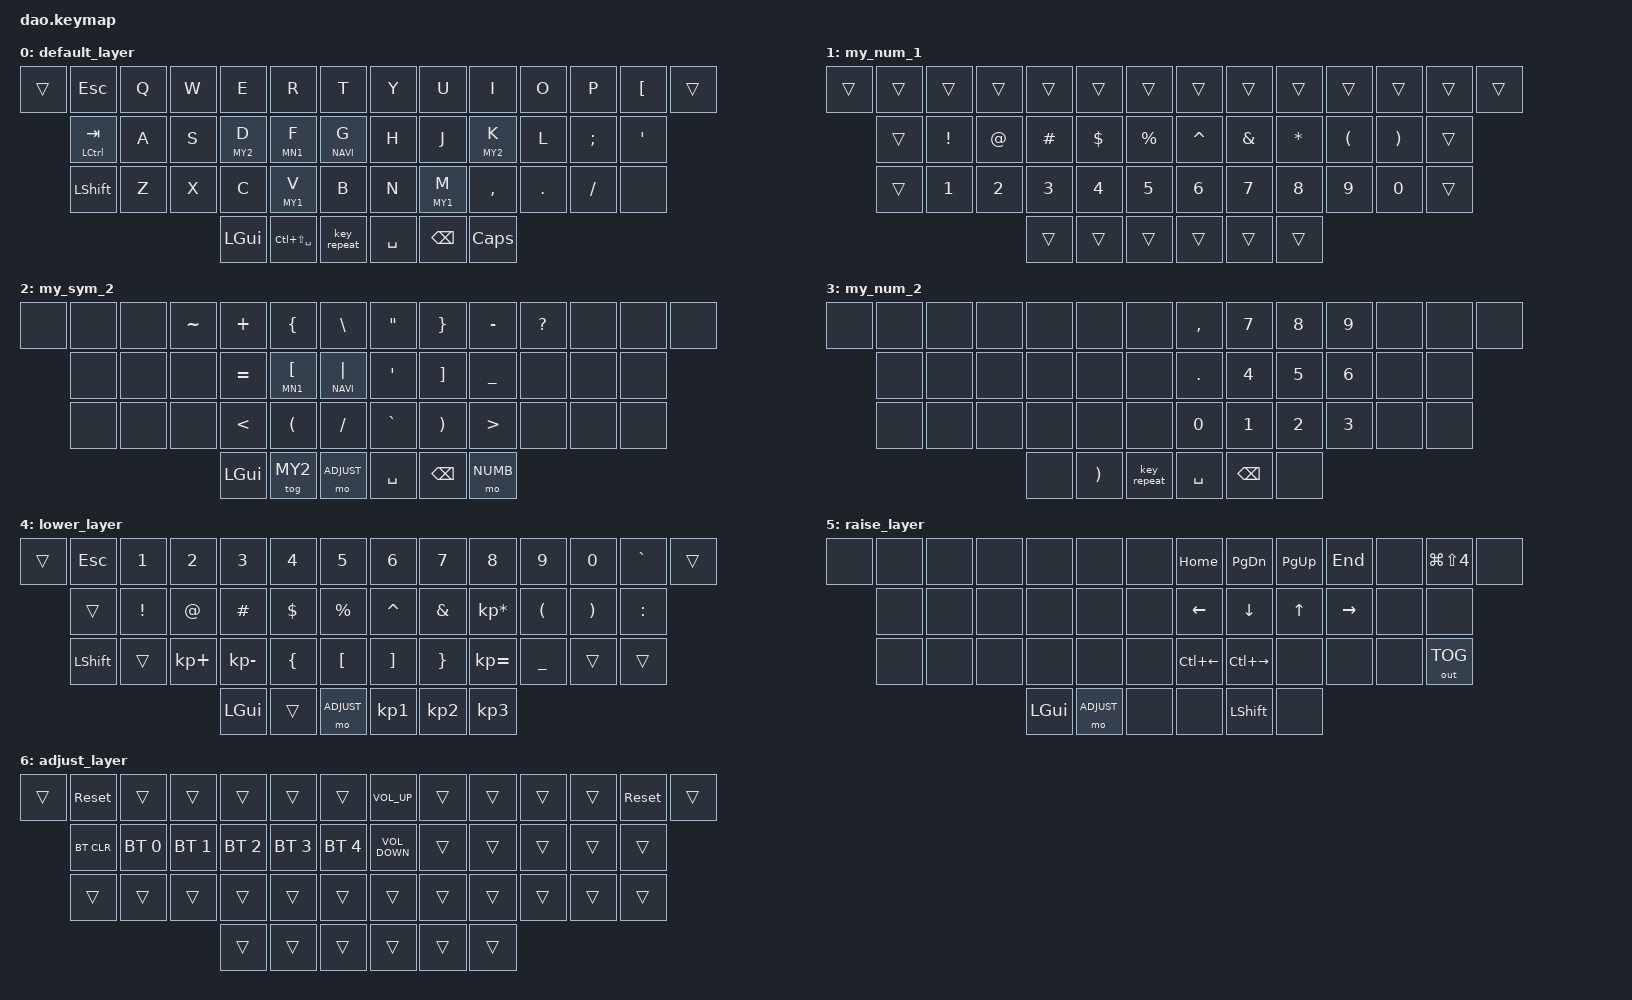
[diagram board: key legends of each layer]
/*
 * Copyright (c) 2020 The ZMK Contributors
 *
 * SPDX-License-Identifier: MIT
 * To use home rows - &hm LSHFT F
 */

#include <behaviors.dtsi>
#include <dt-bindings/zmk/keys.h>
#include <dt-bindings/zmk/bt.h>
#include <dt-bindings/zmk/outputs.h>

#define QWERTY 0
#define MY1 1
#define MY2 2
#define MN1 3
#define NUMB 4
#define NAVI 5
#define ADJUST 6

/ {

    behaviors {        
        hm: homerow_mods {
        compatible = "zmk,behavior-hold-tap";
        label = "HOMEROW_MODS";
        #binding-cells = <2>;
        tapping-term-ms = <150>;
        quick_tap_ms = <0>;
        flavor = "tap-preferred";
        bindings = <&kp>, <&kp>;
        };
    };
    
    combos {
      compatible = "zmk,combos";
      combo_esc {
        timeout-ms = <50>;
        key-positions = <3 4>;
        bindings = <&kp ESC>;
      };
      combo_bsp {
        timeout-ms = <50>;
        key-positions = <8 9>;
        bindings = <&kp BSPC>;
      };          
      combo_del {
        timeout-ms = <50>;
        key-positions = <9 10>;
        bindings = <&kp DEL>;
      };      
      combo_tab {
        timeout-ms = <50>;
        key-positions = <28 29>;
        bindings = <&kp TAB>;
      };
      combo_ret {
        timeout-ms = <50>;
        key-positions = <33 34>;
        bindings = <&kp RET>;
      };   
      
      combo_lgui_l {
        timeout-ms = <50>;
        key-positions = <18 19>;
        bindings = <&sk LGUI>;
      };
      combo_lshft_l {
        timeout-ms = <50>;
        key-positions = <16 17>;
        bindings = <&sk LSHFT>;
      };    
      combo_lctrl_l {
        timeout-ms = <50>;
        key-positions = <17 18>;
        bindings = <&sk LCTRL>;
      };       
      combo_lalt_l {
        timeout-ms = <50>;
        key-positions = <16 18>;
        bindings = <&sk LALT>;
      };             

      combo_lgui_r {
        timeout-ms = <50>;
        key-positions = <20 21>;
        bindings = <&sk LGUI>;
      };
      combo_lshft_r {
        timeout-ms = <50>;
        key-positions = <22 23>;
        bindings = <&sk LSHFT>;
      };    
      combo_lctrl_r {
        timeout-ms = <50>;
        key-positions = <21 22>;
        bindings = <&sk LCTRL>;
      };       
      combo_lalt_r {
        timeout-ms = <50>;
        key-positions = <21 23>;
        bindings = <&sk LALT>;
      };   
      
      combo_number {
        timeout-ms = <50>;
        key-positions = <30 33>;
        bindings = <&tog MY1>;
      };          
      
      combo_rus_symb_brct {
        timeout-ms = <50>;
        key-positions = <31 33>;
        bindings = <&kp RBKT>;
      };          
};    

        keymap {
                compatible = "zmk,keymap";

                default_layer {
// .--------------------------------------------------------------.       .-------------------------------------------------------------.
// |   ESC        |    Q    |    W   |   E    |    R    |    T    |       |   Y     |    U    |    I    |    O    |     P    |    [     |
// |--------------+---------+--------+--------+---------+---------|       |---------+---------+---------+---------+----------+----------|
// |   CTRL/Tab   |    A    |    S   | D|MY2  |  F|MN1  | G|NAVI  |       |   H     |    J    | K|MY2   |    L    |     ;    |     '    |
// |--------------+---------+--------+--------+---------+---------|       |---------+---------+---------+---------+----------+----------|
// |   SHFT       |    Z    |    X   |   C    |  V|MY1  |    B    |       |   N     |  M|MY1  |    ,    |    .    |     /    |          |
// '---------------------------------+--------+---------+---------+       |---------+---------+---------+-------------------------------'
//                                   |  GUI   | ru/en   | repeat  |       |  SPC    |   BKSP  |  CAPS   |
//                                   '--------+---------+---------'       '---------+---------+---------'
                        bindings = <
   &trans &kp ESC        &kp Q  &kp W  &kp E      &kp R              &kp T          &kp Y      &kp U      &kp I         &kp O    &kp P     &kp LBKT  &trans
          &mt LCTRL TAB  &kp A  &kp S  &lt MY2 D  &lt MN1 F          &lt NAVI G     &kp H      &kp J      &lt MY2 K     &kp L    &kp SEMI  &kp SQT
          &kp LSHFT      &kp Z  &kp X  &kp C      &lt MY1 V          &kp B          &kp N      &lt MY1 M  &kp COMMA     &kp DOT  &kp FSLH  &none
                                       &kp LGUI   &kp LC(LS(SPACE))  &key_repeat    &kp SPACE  &kp BSPC   &kp CAPSLOCK  
                        >;
                };
                
                my_num_1 {
// .--------------------------------------------------------------.       .-----------------------------------------------------------.
// |              |         |        |        |         |         |       |       |         |         |         |          |          |
// |--------------+---------+--------+--------+---------+---------|       |-------+---------+---------+---------+----------+----------|
// |              |    !    |    @   |   #    |    $    |    %    |       |   ^   |    &    |    *    |    (    |     )    |          |
// |--------------+---------+--------+--------+---------+---------|       |-------+---------+---------+---------+----------+----------|
// |              |    1    |    2   |   3    |    4    |    5    |       |   6   |    7    |    8    |    9    |     0    |          |
// '---------------------------------+--------+---------+---------+       |-------+---------+---------+-------------------------------'
//                                   |        |         |         |       |       |         |         |
//                                   '--------+---------+---------'       '-------+---------+---------'
                        bindings = <
    &trans  &trans  &trans    &trans  &trans    &trans    &trans           &trans     &trans    &trans    &trans    &trans    &trans  &trans
            &trans  &kp EXCL  &kp AT  &kp HASH  &kp DLLR  &kp PRCNT        &kp CARET  &kp AMPS  &kp STAR  &kp LPAR  &kp RPAR  &trans
            &trans  &kp N1    &kp N2  &kp N3    &kp N4    &kp N5           &kp N6     &kp N7    &kp N8    &kp N9    &kp N0    &trans
                                      &trans    &trans    &trans           &trans     &trans    &trans
                        >;
                
                };
                
                my_sym_2 {
// .----------------------------------------------------------.       .-----------------------------------------------------------.
// |         |         |   ~    |    +    |    {    |    \    |       |    "    |    }    |    -    |    ?    |         |         |
// |---------+---------+--------+---------+---------+---------|       |---------+---------+---------+---------+---------+---------|
// |         |         |        |    =    |  ( MN1  | | NAVI  |       |    '    |    )    |    _    |         |         |         |
// |---------+---------+--------+---------+---------+---------|       |---------+---------+---------+---------+---------+---------|
// |         |         |        |    <    |    [    |    /    |       |    `    |    ]    |    >    |         |         |         |
// '----------------------------+---------+---------+---------+       |---------+---------+---------+-----------------------------'
//                              |   GUI   |   MY2   |   MO3   |       |   SPC   |  BSPC   |         |
//                              '---------+---------+---------'       '---------+---------+---------'
                        bindings = <
   &none  &none  &none  &kp TILDE  &kp PLUS   &kp LBRC      &kp BSLH         &kp DQT    &kp RBRC  &kp MINUS  &kp QMARK  &none  &none  &none
          &none  &none  &none      &kp EQUAL  &lt MN1 LBKT  &lt NAVI PIPE    &kp SQT    &kp RBKT  &kp UNDER  &none      &none  &none
          &none  &none  &none      &kp LT     &kp LPAR      &kp FSLH         &kp GRAVE  &kp RPAR  &kp GT     &none      &none  &none
                                   &kp LGUI   &tog MY2      &mo ADJUST       &kp SPACE  &kp BSPC  &mo NUMB
                        >;
                
                };
                
                my_num_2 {
// .----------------------------------------------------------.       .-----------------------------------------------------------.
// |         |         |        |         |         |         |       |    ,    |    7    |    8    |    9    |         |         |
// |---------+---------+--------+---------+---------+---------|       |---------+---------+---------+---------+---------+---------|
// |         |         |        |         |         |         |       |    .    |    4    |    5    |    6    |         |         |
// |---------+---------+--------+---------+---------+---------|       |---------+---------+---------+---------+---------+---------|
// |         |         |        |         |         |         |       |    0    |    1    |    2    |    3    |         |         |
// '----------------------------+---------+---------+---------+       |---------+---------+---------+-----------------------------'
//                              |         |    _    | repeat  |       |    SPC  |  BSPC   |         |
//                              '---------+---------+---------'       '---------+---------+---------'
                        bindings = <
   &none  &none  &none  &none  &none  &none     &none          &kp COMMA  &kp N7    &kp N8  &kp N9  &none  &none  &none
          &none  &none  &none  &none  &none     &none          &kp DOT    &kp N4    &kp N5  &kp N6  &none  &none
          &none  &none  &none  &none  &none     &none          &kp N0     &kp N1    &kp N2  &kp N3  &none  &none
                               &none  &kp RPAR  &key_repeat    &kp SPACE  &kp BSPC  &none
                        >;
                
                };
                
                lower_layer {
// .--------------------------------------------------------------.       .-----------------------------------------------------------.
// |   ESC        |    1    |    2   |   3    |    4    |    5    |       |   6   |    7    |    8    |    9    |     0    |    `     |
// |--------------+---------+--------+--------+---------+---------|       |-------+---------+---------+---------+----------+----------|
// |              |    !    |    @   |   #    |    $    |    %    |       |   ^   |    &    |    *    |    (    |     )    |     :    |
// |--------------+---------+--------+--------+---------+---------|       |-------+---------+---------+---------+----------+----------|
// |   SHFT       |         |    +   |   -    |    {    |    [    |       |   ]   |    }    |    =    |    _    |          |          |
// '---------------------------------+--------+---------+---------+       |-------+---------+---------+-------------------------------'
//                                   |  GUI   |         |   MO3   |       |   ,   |    .    |   ?     |
//                                   '--------+---------+---------'       '-------+---------+---------'
                        bindings = <
   &trans  &kp ESC    &kp N1    &kp N2       &kp N3        &kp N4          &kp N5            &kp N6                   &kp N7                     &kp N8                 &kp N9                   &kp N0     &kp GRAVE &trans
           &trans     &kp EXCL  &kp AT       &kp HASH      &kp DLLR        &kp PRCNT         &kp CARET                &kp AMPS                   &kp KP_MULTIPLY        &kp LPAR                 &kp RPAR   &kp COLON
           &kp LSHFT  &trans    &kp KP_PLUS  &kp KP_MINUS  &kp LEFT_BRACE  &kp LEFT_BRACKET  &kp RIGHT_BRACKET        &kp RIGHT_BRACE            &kp KP_EQUAL           &kp UNDERSCORE           &trans     &trans
                                             &kp LGUI      &trans               &mo ADJUST        &kp KP_N1                &kp KP_N2                  &kp KP_N3
                        >;
                };
                
                raise_layer {
// .----------------------------------------------------------------.       .-----------------------------------------------------------------.
// |                |       |        |        |          |          |       |  HOME   |    PD    |   PU    |   END   |          | CMD+SHIFT+4 |
// |----------------+-------+--------+--------+----------+----------|       |---------+----------+---------+---------+----------+-------------|
// |                |       |        |        |          |          |       |  LEFT   |   DOWN   |   UP    |  RIGHT  |          |             |
// |----------------+-------+--------+--------+----------+----------|       |---------+----------+---------+---------+----------+-------------|
// |                |       |        |        |          |          |       |CTRL+LEFT|CTRL+RIGHT|         |         |          |   OUT_TOG   |
// '---------------------------------+--------+----------+----------+       |---------+----------+---------+----------------------------------'
//                                   |  GUI   |   MO3    |          |       |         | LSHIFT   |         |
//                                   '--------+----------+----------'       '---------+----------+---------'

                        bindings = <
   &none  &none  &none  &none  &none     &none       &none     &kp HOME            &kp PAGE_DOWN        &kp PAGE_UP   &kp END          &none  &kp LG(LS(N4)) &none
          &none  &none  &none  &none     &none       &none     &kp LEFT_ARROW      &kp DOWN_ARROW       &kp UP_ARROW  &kp RIGHT_ARROW  &none  &none
          &none  &none  &none  &none     &none       &none     &kp LC(LEFT_ARROW)  &kp LC(RIGHT_ARROW)  &none         &none            &none  &out OUT_TOG
                               &kp LGUI  &mo ADJUST  &none     &none               &kp LSHFT            &none
                        >;
                };

                adjust_layer {
// .--------------------------------------------------------.       .--------------------------------------------------------------.
// |         |        |        |        |         |         |       |  VOL+  |        |         |         |          |             |
// |---------+--------+--------+--------+---------+---------|       |--------+--------+---------+---------+----------+-------------|
// |  BTCLR  |  BT1   |  BT2   |  BT3   |  BT4    |  BT5    |       |  VOL-  |        |         |         |          |             |
// |---------+--------+--------+--------+---------+---------|       |--------+--------+---------+---------+----------+-------------|
// |         |        |        |        |         |         |       |        |        |         |         |          |             |
// '---------------------------+--------+---------+---------+       |--------+--------+---------+----------------------------------'
//                             |        |         |         |       |        |        |         |
//                             '--------+---------+---------'       '--------+--------+---------'

                        bindings = <
   &trans  &sys_reset  &trans        &trans        &trans        &trans        &trans          &kp C_VOLUME_UP   &trans &trans &trans &trans &sys_reset &trans
           &bt BT_CLR  &bt BT_SEL 0  &bt BT_SEL 1  &bt BT_SEL 2  &bt BT_SEL 3  &bt BT_SEL 4    &kp C_VOLUME_DOWN &trans &trans &trans &trans &trans
           &trans      &trans        &trans        &trans        &trans        &trans          &trans            &trans &trans &trans &trans &trans
                                     &trans        &trans        &trans        &trans          &trans            &trans
                        >;
                };
        };
};
